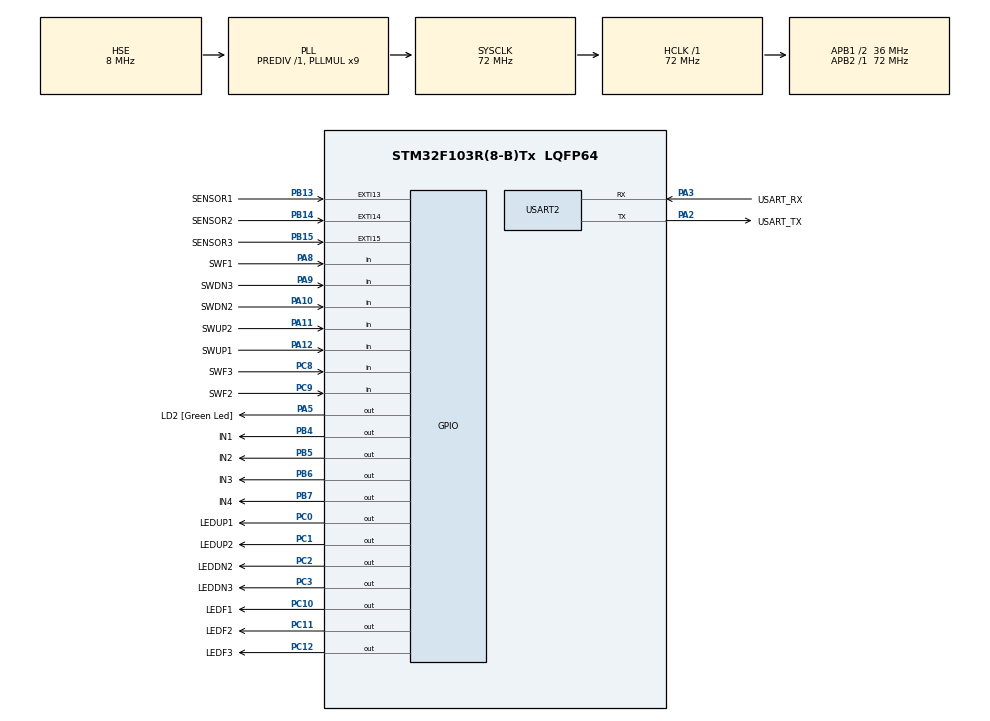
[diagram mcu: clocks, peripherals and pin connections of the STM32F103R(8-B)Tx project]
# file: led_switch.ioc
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Mcu.Family=STM32F1
Mcu.Name=STM32F103R(8-B)Tx
Mcu.Package=LQFP64
NVIC.PriorityGroup=NVIC_PRIORITYGROUP_4
PA10.GPIO_Label=SWDN2
PA10.GPIO_PuPd=GPIO_PULLDOWN
PA10.Signal=GPIO_Input
PA11.GPIO_Label=SWUP2
PA11.GPIO_PuPd=GPIO_PULLDOWN
PA11.Signal=GPIO_Input
PA12.GPIO_Label=SWUP1
PA12.GPIO_PuPd=GPIO_PULLDOWN
PA12.Signal=GPIO_Input
PA13.GPIO_Label=TMS
PA13.Mode=Serial_Wire
PA13.Signal=SYS_JTMS-SWDIO
PA14.GPIO_Label=TCK
PA14.Mode=Serial_Wire
PA14.Signal=SYS_JTCK-SWCLK
PA2.GPIO_Label=USART_TX
PA2.GPIO_Mode=GPIO_MODE_AF_PP
PA2.GPIO_PuPd=GPIO_NOPULL
PA2.GPIO_Speed=GPIO_SPEED_FREQ_LOW
PA2.Mode=Asynchronous
PA2.Signal=USART2_TX
PA3.GPIO_Label=USART_RX
PA3.GPIO_Mode=GPIO_MODE_AF_PP
PA3.GPIO_PuPd=GPIO_NOPULL
PA3.GPIO_Speed=GPIO_SPEED_FREQ_LOW
PA3.Mode=Asynchronous
PA3.Signal=USART2_RX
PA5.GPIO_Label=LD2 [Green Led]
PA5.GPIO_ModeDefaultOutputPP=GPIO_MODE_OUTPUT_PP
PA5.GPIO_PuPd=GPIO_NOPULL
PA5.GPIO_Speed=GPIO_SPEED_FREQ_LOW
PA5.Signal=GPIO_Output
PA8.GPIO_Label=SWF1
PA8.GPIO_PuPd=GPIO_PULLDOWN
PA8.Signal=GPIO_Input
PA9.GPIO_Label=SWDN3
PA9.GPIO_PuPd=GPIO_PULLDOWN
PA9.Signal=GPIO_Input
PB13.GPIO_Label=SENSOR1
PB13.Signal=GPXTI13
PB14.GPIO_Label=SENSOR2
PB14.Signal=GPXTI14
PB15.GPIO_Label=SENSOR3
PB15.Signal=GPXTI15
PB3.Signal=S_TIM2_CH2
PB4.GPIO_Label=IN1
PB4.Signal=GPIO_Output
PB5.GPIO_Label=IN2
PB5.Signal=GPIO_Output
PB6.GPIO_Label=IN3
PB6.Signal=GPIO_Output
PB7.GPIO_Label=IN4
PB7.Signal=GPIO_Output
PC0.GPIO_Label=LEDUP1
PC0.GPIO_PuPd=GPIO_PULLDOWN
PC0.Signal=GPIO_Output
PC1.GPIO_Label=LEDUP2
PC1.GPIO_PuPd=GPIO_PULLDOWN
PC1.Signal=GPIO_Output
PC10.GPIO_Label=LEDF1
PC10.GPIO_PuPd=GPIO_PULLDOWN
PC10.Signal=GPIO_Output
PC11.GPIO_Label=LEDF2
PC11.GPIO_PuPd=GPIO_PULLDOWN
PC11.Signal=GPIO_Output
PC12.GPIO_Label=LEDF3
PC12.Signal=GPIO_Output
PC14-OSC32_IN.Mode=LSE-External-Oscillator
PC14-OSC32_IN.Signal=RCC_OSC32_IN
PC15-OSC32_OUT.Mode=LSE-External-Oscillator
PC15-OSC32_OUT.Signal=RCC_OSC32_OUT
PC2.GPIO_Label=LEDDN2
PC2.GPIO_PuPd=GPIO_PULLDOWN
PC2.Signal=GPIO_Output
PC3.GPIO_Label=LEDDN3
PC3.Signal=GPIO_Output
PC8.GPIO_Label=SWF3
PC8.GPIO_PuPd=GPIO_PULLDOWN
PC8.Signal=GPIO_Input
PC9.GPIO_Label=SWF2
PC9.GPIO_PuPd=GPIO_PULLDOWN
PC9.Signal=GPIO_Input
PD0-OSC_IN.Mode=HSE-External-Clock-Source
PD0-OSC_IN.Signal=RCC_OSC_IN
PD1-OSC_OUT.Mode=HSE-External-Clock-Source
PD1-OSC_OUT.Signal=RCC_OSC_OUT
ProjectManager.HeapSize=0x200
ProjectManager.StackSize=0x400
ProjectManager.TargetToolchain=STM32CubeIDE
RCC.AHBFreq_Value=72000000
RCC.APB1CLKDivider=RCC_HCLK_DIV2
RCC.APB1Freq_Value=36000000
RCC.APB1TimFreq_Value=72000000
RCC.APB2Freq_Value=72000000
RCC.APB2TimFreq_Value=72000000
RCC.HCLKFreq_Value=72000000
RCC.PLLMUL=RCC_PLL_MUL9
RCC.PLLSourceVirtual=RCC_PLLSOURCE_HSE
RCC.RTCClockSelection=RCC_RTCCLKSOURCE_LSE
RCC.SYSCLKFreq_VALUE=72000000
RCC.SYSCLKSource=RCC_SYSCLKSOURCE_PLLCLK
RCC.USBFreq_Value=72000000
SH.S_TIM2_CH2.0=TIM2_CH2
TIM2.AutoReloadPreload=TIM_AUTORELOAD_PRELOAD_DISABLE
TIM2.Period=65535
TIM2.Prescaler=72-1
USART2.VirtualMode=VM_ASYNC
VP_TIM2_VS_ClockSourceINT.Mode=Internal
board=NUCLEO-F103RB

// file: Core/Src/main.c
/* USER CODE BEGIN Header */
/**
  ******************************************************************************
  * @file           : main.c
  * @brief          : Main program body
  ******************************************************************************
  * @attention
  *
  * Copyright (c) 2024 STMicroelectronics.
  * All rights reserved.
  *
  * This software is licensed under terms that can be found in the LICENSE file
  * in the root directory of this software component.
  * If no LICENSE file comes with this software, it is provided AS-IS.
  *
  ******************************************************************************
  */
/* USER CODE END Header */
#include "main.h"

/* USER CODE BEGIN PD */
//#define BUTMAX 4
#define MAXFLOOR 3
#define DECREASE 5//experiment needs
#define SPEEDINIT 30
#define STEP 140
/* USER CODE END PD */

TIM_HandleTypeDef htim2;

UART_HandleTypeDef huart2;

/* USER CODE BEGIN PV */
uint16_t led_pin_up[] = {LEDUP1_Pin,LEDUP2_Pin,0};
uint16_t led_pin_down[] = {0,LEDDN2_Pin,LEDDN3_Pin};
uint16_t led_pin_f[] = {LEDF1_Pin,LEDF2_Pin,LEDF3_Pin};
GPIO_TypeDef *led_port_up[] = {LEDUP1_GPIO_Port,LEDUP2_GPIO_Port,0};
GPIO_TypeDef *led_port_down[] = {0,LEDDN2_GPIO_Port,LEDDN3_GPIO_Port};
GPIO_TypeDef *led_port_f[] = {LEDF1_GPIO_Port,LEDF2_GPIO_Port,LEDF3_GPIO_Port};

int upButton[MAXFLOOR] = {0};//up down button state outside
int downButton[MAXFLOOR]={0};
int fButton[MAXFLOOR] = {0};//floor button state inside
int direction = 0;//0: stop 1: up 2: down
int currentFloor=1;
int targetFloor = 1;
int stepNumber=1;
float speed=SPEEDINIT;
int totalSteps=0;//floor detect 57:1 114:2 171:3
int motorEn=0;

//uint8_t sen1 = "SENSOR1\n";
//uint8_t sen2 = "SENSOR2\n";
//uint8_t sen3 = "SENSOR3\n";
/* USER CODE END PV */

void SystemClock_Config(void);
static void MX_GPIO_Init(void);
static void MX_USART2_UART_Init(void);
static void MX_TIM2_Init(void);

/* USER CODE BEGIN 0 */

void input_button(){
  if(HAL_GPIO_ReadPin(SWUP1_GPIO_Port,SWUP1_Pin)){//up1
	   	HAL_Delay(100);
	   	HAL_GPIO_WritePin(led_port_up[0],led_pin_up[0],!upButton[0]);
	   	upButton[0] = !upButton[0];
	  	while(HAL_GPIO_ReadPin(SWUP1_GPIO_Port,SWUP1_Pin)){;}
	  	HAL_Delay(100);
	  }

  if(HAL_GPIO_ReadPin(SWUP2_GPIO_Port,SWUP2_Pin)){//up2
    HAL_Delay(100);
    HAL_GPIO_WritePin(led_port_up[1],led_pin_up[1],!upButton[1]);
    upButton[1] = !upButton[1];
    while(HAL_GPIO_ReadPin(SWUP2_GPIO_Port,SWUP2_Pin)){;}
    HAL_Delay(100);
  }

  if(HAL_GPIO_ReadPin(SWDN2_GPIO_Port,SWDN2_Pin)){//down2
    HAL_Delay(100);
    HAL_GPIO_WritePin(led_port_down[1],led_pin_down[1],!downButton[1]);
    downButton[1] = !downButton[1];
    while(HAL_GPIO_ReadPin(SWDN2_GPIO_Port,SWDN2_Pin)){;}
    HAL_Delay(100);
  }

  if(HAL_GPIO_ReadPin(SWDN3_GPIO_Port,SWDN3_Pin)){//down3
    HAL_Delay(100);
    HAL_GPIO_WritePin(led_port_down[2],led_pin_down[2],!downButton[2]);
    downButton[2] = !downButton[2];
    while(HAL_GPIO_ReadPin(SWDN3_GPIO_Port,SWDN3_Pin)){;}
    HAL_Delay(100);
  }

  if(HAL_GPIO_ReadPin(SWF1_GPIO_Port,SWF1_Pin)){//f1
    HAL_Delay(100);
    HAL_GPIO_WritePin(led_port_f[0],led_pin_f[0],!fButton[0]);
    fButton[0] = !fButton[0];
    while(HAL_GPIO_ReadPin(SWF1_GPIO_Port,SWF1_Pin)){;}
    HAL_Delay(100);
  }

  if(HAL_GPIO_ReadPin(SWF2_GPIO_Port,SWF2_Pin)){//f2
    HAL_Delay(100);
    HAL_GPIO_WritePin(led_port_f[1],led_pin_f[1],!fButton[1]);
    fButton[1] = !fButton[1];
    while(HAL_GPIO_ReadPin(SWF2_GPIO_Port,SWF2_Pin)){;}
    HAL_Delay(100);
  }

  if(HAL_GPIO_ReadPin(SWF3_GPIO_Port,SWF3_Pin)){//f3
    HAL_Delay(100);
    HAL_GPIO_WritePin(led_port_f[2],led_pin_f[2],!fButton[2]);
    fButton[2] = !fButton[2];
    while(HAL_GPIO_ReadPin(SWF3_GPIO_Port,SWF3_Pin)){;}
    HAL_Delay(100);
  }
}
int button_check(){
  int i=currentFloor-1; //current index
  if(direction==0){
    while(i<MAXFLOOR){
        if(upButton[i]||downButton[i]||fButton[i]){
            return i+1;
        }
        i++;
    }
    i = currentFloor-1;
    while(i>=0){
        if(upButton[i]||downButton[i]||fButton[i]){
            return i+1;
        }
        i--;
    }
  }
  else if(direction==1){
    while(i<MAXFLOOR){
        if(upButton[i]||downButton[i]||fButton[i]){
            return i+1;
        }
        i++;
    }
  }
  else{//direction==2
    while(i>=0){
        if(upButton[i]||downButton[i]||fButton[i]){
            return  i+1;
        }
        i--;
    }
  }
  direction=0;
  HAL_UART_Transmit(&huart2,"00000000\n",sizeof("00000000\n"),100);
  return currentFloor;
}

void led_check(){//when arrive in target floor, related led off so weird
  if(direction==1){
	  HAL_Delay(1000);
    if(upButton[currentFloor-1]){
      upButton[currentFloor-1] = 0;
      HAL_GPIO_WritePin(led_port_up[currentFloor-1],led_pin_up[currentFloor-1],0);
    }
    direction=2;
  }else if(direction==2){
	  HAL_Delay(1000);
    if(downButton[currentFloor-1]){
      downButton[currentFloor-1] = 0;
      HAL_GPIO_WritePin(led_port_down[currentFloor-1],led_pin_down[currentFloor-1],0);
    }
    direction=1;
  }else{//direction == 0
    if(upButton[currentFloor-1]){
	  HAL_Delay(1000);
	  upButton[currentFloor-1] = 0;
	  HAL_GPIO_WritePin(led_port_up[currentFloor-1],led_pin_up[currentFloor-1],0);

    }
    if(downButton[currentFloor-1]){
		HAL_Delay(1000);
		downButton[currentFloor-1] = 0;
		HAL_GPIO_WritePin(led_port_down[currentFloor-1],led_pin_down[currentFloor-1],0);
    }
  }
  if(fButton[currentFloor-1]){
	  HAL_Delay(1000);
      fButton[currentFloor-1] = 0;
      HAL_GPIO_WritePin(led_port_f[currentFloor-1],led_pin_f[currentFloor-1],0);

  }
}

void motor_on(){
    // Find out which step the motor is on
	motorEn=1;
    switch (stepNumber)
    {
    case 1:
		  HAL_GPIO_WritePin(IN1_GPIO_Port, IN1_Pin, 1);   // IN1
		  HAL_GPIO_WritePin(IN2_GPIO_Port, IN2_Pin,0); // IN2
		  HAL_GPIO_WritePin(IN3_GPIO_Port, IN3_Pin,0); // IN3
		  HAL_GPIO_WritePin(IN4_GPIO_Port, IN4_Pin, 1);   // IN4
		  HAL_Delay(5);
		break;
	  case 2:
		  HAL_GPIO_WritePin(IN1_GPIO_Port, IN1_Pin, 1);   // IN1
		  HAL_GPIO_WritePin(IN2_GPIO_Port, IN2_Pin,0); // IN2
		  HAL_GPIO_WritePin(IN3_GPIO_Port, IN3_Pin, 1);   // IN3
		  HAL_GPIO_WritePin(IN4_GPIO_Port, IN4_Pin,0); // IN4
		  HAL_Delay(5);
		break;
	  case 3:
		  HAL_GPIO_WritePin(IN1_GPIO_Port, IN1_Pin,0); // IN1
		  HAL_GPIO_WritePin(IN2_GPIO_Port, IN2_Pin, 1);   // IN2
		  HAL_GPIO_WritePin(IN3_GPIO_Port, IN3_Pin, 1);   // IN3
		  HAL_GPIO_WritePin(IN4_GPIO_Port, IN4_Pin,0); // IN4
		  HAL_Delay(5);
		break;
	  case 4:
		  HAL_GPIO_WritePin(IN1_GPIO_Port, IN1_Pin,0); // IN1
		  HAL_GPIO_WritePin(IN2_GPIO_Port, IN2_Pin, 1);   // IN2
		  HAL_GPIO_WritePin(IN3_GPIO_Port, IN3_Pin,0); // IN3
		  HAL_GPIO_WritePin(IN4_GPIO_Port, IN4_Pin, 1);   // IN4
		  HAL_Delay(5);
		break;
      default:
        break;
    }
}
void motor_off()
{
	motorEn=0;
	HAL_GPIO_WritePin(IN1_GPIO_Port, IN1_Pin, 0); // IN1
	HAL_GPIO_WritePin(IN2_GPIO_Port, IN2_Pin, 0); // IN2
	HAL_GPIO_WritePin(IN3_GPIO_Port, IN3_Pin, 0); // IN3
	HAL_GPIO_WritePin(IN4_GPIO_Port, IN4_Pin, 0); // IN4
}
void motor_delay(uint32_t delay){
//    if (delay < 60000)
//    {
//        __HAL_TIM_SET_COUNTER(&htim2, 0);
//        while (__HAL_TIM_GET_COUNTER(&htim2) < delay);
//    }
//    else
//    {
//        HAL_Delay(delay/1000);//limit lowest speed
//    }

	__HAL_TIM_SET_COUNTER(&htim2, 0);
	while (__HAL_TIM_GET_COUNTER(&htim2) < delay);

}

void up_floor(){//wheel r = 2.5cm floor step=4.5cm so 57cycle need to go up 1 floor
	motor_on();
	uint32_t delay = 60*1000*1000/200/speed;
	for(int x=0; x<STEP; x++){
		input_button();
		totalSteps++;
	// Step to the previous step
		switch (stepNumber){//counter clock wise
		case 1:
			HAL_GPIO_WritePin(IN1_GPIO_Port, IN1_Pin, 0); // IN1
			HAL_GPIO_WritePin(IN2_GPIO_Port, IN2_Pin, 1);   // IN2
			HAL_GPIO_WritePin(IN3_GPIO_Port, IN3_Pin, 0); // IN3
			HAL_GPIO_WritePin(IN4_GPIO_Port, IN4_Pin, 1);   // IN4
			motor_delay(delay);
			stepNumber = 4;
			break;
		  case 2:
			HAL_GPIO_WritePin(IN1_GPIO_Port, IN1_Pin, 1);   // IN1
			HAL_GPIO_WritePin(IN2_GPIO_Port, IN2_Pin, 0); // IN2
			HAL_GPIO_WritePin(IN3_GPIO_Port, IN3_Pin, 0); // IN3
			HAL_GPIO_WritePin(IN4_GPIO_Port, IN4_Pin, 1);   // IN4
			motor_delay(delay);
			stepNumber = 1;
			break;
		  case 3:
			HAL_GPIO_WritePin(IN1_GPIO_Port, IN1_Pin, 1);   // IN1
			HAL_GPIO_WritePin(IN2_GPIO_Port, IN2_Pin, 0); // IN2
			HAL_GPIO_WritePin(IN3_GPIO_Port, IN3_Pin, 1);   // IN3
			HAL_GPIO_WritePin(IN4_GPIO_Port, IN4_Pin, 0); // IN4
			motor_delay(delay);
			stepNumber = 2;
			break;
		  case 4:
			HAL_GPIO_WritePin(IN1_GPIO_Port, IN1_Pin, 0); // IN1
			HAL_GPIO_WritePin(IN2_GPIO_Port, IN2_Pin, 1);   // IN2
			HAL_GPIO_WritePin(IN3_GPIO_Port, IN3_Pin, 1);   // IN3
			HAL_GPIO_WritePin(IN4_GPIO_Port, IN4_Pin, 0); // IN4
			motor_delay(delay);
			stepNumber = 3;
			break;
		  default:
			break;
		}
		delay = 60*1000*1000/200/speed;
		if(x>=STEP-5){
			speed  = speed - DECREASE;
		}

	}
	speed = SPEEDINIT;
	motor_off();
}
void down_floor(){//wheel r = 2.5cm floor step=4.5cm so 57cycle need to go up 1 floor
	motor_on();
	uint32_t delay = 60*1000*1000/200/speed;
	for(int x=0; x<STEP; x++)
	  {
		input_button();
		totalSteps--;
	    // Step to the next step
	    switch (stepNumber){
	    case 1:
			HAL_GPIO_WritePin(IN1_GPIO_Port, IN1_Pin,1);   // IN1
			HAL_GPIO_WritePin(IN2_GPIO_Port, IN2_Pin, 0); // IN2
			HAL_GPIO_WritePin(IN3_GPIO_Port, IN3_Pin,1);   // IN3
			HAL_GPIO_WritePin(IN4_GPIO_Port, IN4_Pin, 0); // IN4
			motor_delay(delay);
			stepNumber = 2;
			break;
		  case 2:
			HAL_GPIO_WritePin(IN1_GPIO_Port, IN1_Pin, 0); // IN1
			HAL_GPIO_WritePin(IN2_GPIO_Port, IN2_Pin,1);   // IN2
			HAL_GPIO_WritePin(IN3_GPIO_Port, IN3_Pin,1);   // IN3
			HAL_GPIO_WritePin(IN4_GPIO_Port, IN4_Pin, 0); // IN4
			motor_delay(delay);
			stepNumber = 3;
			break;
		  case 3:
			HAL_GPIO_WritePin(IN1_GPIO_Port, IN1_Pin, 0); // IN1
			HAL_GPIO_WritePin(IN2_GPIO_Port, IN2_Pin,1);   // IN2
			HAL_GPIO_WritePin(IN3_GPIO_Port, IN3_Pin, 0); // IN3
			HAL_GPIO_WritePin(IN4_GPIO_Port, IN4_Pin, 1); // IN4 checking required
			motor_delay(delay);
			stepNumber = 4;
			break;
		  case 4:
			HAL_GPIO_WritePin(IN1_GPIO_Port, IN1_Pin,1);   // IN1
			HAL_GPIO_WritePin(IN2_GPIO_Port, IN2_Pin, 0); // IN2
			HAL_GPIO_WritePin(IN3_GPIO_Port, IN3_Pin, 0); // IN3
			HAL_GPIO_WritePin(IN4_GPIO_Port, IN4_Pin,1);   // IN4
			motor_delay(delay);
			stepNumber = 1;
			break;
		  default:
			break;
	    }
	    delay = 60*1000*1000/200/speed;
	    if(x>=STEP-5){
			speed  = speed - DECREASE;
		}
	  }
	speed=SPEEDINIT;
	motor_off();
}
void go_floor(int targetFloor){//move to targetfloor
  if(targetFloor > currentFloor){
    up_floor();
    direction = 1;
  }else if(targetFloor < currentFloor){
    down_floor();
    direction = 2;
  }

}
void update_currentFloor(){
  switch (totalSteps)
  {
  case STEP: currentFloor = 1;
  HAL_UART_Transmit(&huart2,"1111111\n",sizeof("11111111\n"),100);
    break;
  case STEP*2: currentFloor = 2;
  HAL_UART_Transmit(&huart2,"222222\n",sizeof("122222221\n"),100);
    break;
   case STEP*3: currentFloor = 3;
   HAL_UART_Transmit(&huart2,"33333333\n",sizeof("333333333\n"),100);
    break;
  default: break;

  }

}
/* USER CODE END 0 */

int main(void)
{

  /* USER CODE BEGIN 1 */
	//uint16_t value = 0;
  /* USER CODE END 1 */

  /* MCU Configuration--------------------------------------------------------*/

  /* Reset of all peripherals, Initializes the Flash interface and the Systick. */
  HAL_Init();

  /* Configure the system clock */
  SystemClock_Config();

  /* Initialize all configured peripherals */
  MX_GPIO_Init();
  MX_USART2_UART_Init();
  MX_TIM2_Init();
  /* USER CODE BEGIN 2 */
  HAL_TIM_Base_Start(&htim2);

  /* USER CODE END 2 */

  /* Infinite loop */
  /* USER CODE BEGIN WHILE */
  while (1){//HAL_UART_Transmit(&huart2,"SENSOR\n",sizeof("SENSOR\n"),100);//HAL_UART_Transmit(&huart2,"dn3\n",sizeof("dn3\n"),100);

	input_button();
    led_check();
    targetFloor = button_check();
    if(!motorEn)go_floor(targetFloor);
    update_currentFloor();
	 // up_floor();
    /* USER CODE END WHILE */

  }
}

void SystemClock_Config(void)
{
  RCC_OscInitTypeDef RCC_OscInitStruct = {0};
  RCC_ClkInitTypeDef RCC_ClkInitStruct = {0};

  /** Initializes the RCC Oscillators according to the specified parameters
  * in the RCC_OscInitTypeDef structure.
  */
  RCC_OscInitStruct.OscillatorType = RCC_OSCILLATORTYPE_HSE;
  RCC_OscInitStruct.HSEState = RCC_HSE_BYPASS;
  RCC_OscInitStruct.HSEPredivValue = RCC_HSE_PREDIV_DIV1;
  RCC_OscInitStruct.HSIState = RCC_HSI_ON;
  RCC_OscInitStruct.PLL.PLLState = RCC_PLL_ON;
  RCC_OscInitStruct.PLL.PLLSource = RCC_PLLSOURCE_HSE;
  RCC_OscInitStruct.PLL.PLLMUL = RCC_PLL_MUL9;
  if (HAL_RCC_OscConfig(&RCC_OscInitStruct) != HAL_OK)
  {
    Error_Handler();
  }

  /** Initializes the CPU, AHB and APB buses clocks
  */
  RCC_ClkInitStruct.ClockType = RCC_CLOCKTYPE_HCLK|RCC_CLOCKTYPE_SYSCLK
                              |RCC_CLOCKTYPE_PCLK1|RCC_CLOCKTYPE_PCLK2;
  RCC_ClkInitStruct.SYSCLKSource = RCC_SYSCLKSOURCE_PLLCLK;
  RCC_ClkInitStruct.AHBCLKDivider = RCC_SYSCLK_DIV1;
  RCC_ClkInitStruct.APB1CLKDivider = RCC_HCLK_DIV2;
  RCC_ClkInitStruct.APB2CLKDivider = RCC_HCLK_DIV1;

  if (HAL_RCC_ClockConfig(&RCC_ClkInitStruct, FLASH_LATENCY_2) != HAL_OK)
  {
    Error_Handler();
  }
}

static void MX_TIM2_Init(void)
{

  TIM_ClockConfigTypeDef sClockSourceConfig = {0};
  TIM_MasterConfigTypeDef sMasterConfig = {0};

  htim2.Instance = TIM2;
  htim2.Init.Prescaler = 72-1;
  htim2.Init.CounterMode = TIM_COUNTERMODE_UP;
  htim2.Init.Period = 65535;
  htim2.Init.ClockDivision = TIM_CLOCKDIVISION_DIV1;
  htim2.Init.AutoReloadPreload = TIM_AUTORELOAD_PRELOAD_DISABLE;
  if (HAL_TIM_Base_Init(&htim2) != HAL_OK)
  {
    Error_Handler();
  }
  sClockSourceConfig.ClockSource = TIM_CLOCKSOURCE_INTERNAL;
  if (HAL_TIM_ConfigClockSource(&htim2, &sClockSourceConfig) != HAL_OK)
  {
    Error_Handler();
  }
  sMasterConfig.MasterOutputTrigger = TIM_TRGO_RESET;
  sMasterConfig.MasterSlaveMode = TIM_MASTERSLAVEMODE_DISABLE;
  if (HAL_TIMEx_MasterConfigSynchronization(&htim2, &sMasterConfig) != HAL_OK)
  {
    Error_Handler();
  }

}

static void MX_USART2_UART_Init(void)
{

  huart2.Instance = USART2;
  huart2.Init.BaudRate = 115200;
  huart2.Init.WordLength = UART_WORDLENGTH_8B;
  huart2.Init.StopBits = UART_STOPBITS_1;
  huart2.Init.Parity = UART_PARITY_NONE;
  huart2.Init.Mode = UART_MODE_TX_RX;
  huart2.Init.HwFlowCtl = UART_HWCONTROL_NONE;
  huart2.Init.OverSampling = UART_OVERSAMPLING_16;
  if (HAL_UART_Init(&huart2) != HAL_OK)
  {
    Error_Handler();
  }

}

static void MX_GPIO_Init(void)
{
  GPIO_InitTypeDef GPIO_InitStruct = {0};

  /* GPIO Ports Clock Enable */
  __HAL_RCC_GPIOC_CLK_ENABLE();
  __HAL_RCC_GPIOD_CLK_ENABLE();
  __HAL_RCC_GPIOA_CLK_ENABLE();
  __HAL_RCC_GPIOB_CLK_ENABLE();

  /*Configure GPIO pin Output Level */
  HAL_GPIO_WritePin(GPIOC, LEDUP1_Pin|LEDUP2_Pin|LEDDN2_Pin|LEDDN3_Pin
                          |LEDF1_Pin|LEDF2_Pin|LEDF3_Pin, GPIO_PIN_RESET);

  /*Configure GPIO pin Output Level */
  HAL_GPIO_WritePin(LD2_GPIO_Port, LD2_Pin, GPIO_PIN_RESET);

  /*Configure GPIO pin Output Level */
  HAL_GPIO_WritePin(GPIOB, IN1_Pin|IN2_Pin|IN3_Pin|IN4_Pin, GPIO_PIN_RESET);

  /*Configure GPIO pins : LEDUP1_Pin LEDUP2_Pin LEDDN2_Pin LEDF1_Pin
                           LEDF2_Pin */
  GPIO_InitStruct.Pin = LEDUP1_Pin|LEDUP2_Pin|LEDDN2_Pin|LEDF1_Pin
                          |LEDF2_Pin;
  GPIO_InitStruct.Mode = GPIO_MODE_OUTPUT_PP;
  GPIO_InitStruct.Pull = GPIO_PULLDOWN;
  GPIO_InitStruct.Speed = GPIO_SPEED_FREQ_LOW;
  HAL_GPIO_Init(GPIOC, &GPIO_InitStruct);

  /*Configure GPIO pins : LEDDN3_Pin LEDF3_Pin */
  GPIO_InitStruct.Pin = LEDDN3_Pin|LEDF3_Pin;
  GPIO_InitStruct.Mode = GPIO_MODE_OUTPUT_PP;
  GPIO_InitStruct.Pull = GPIO_NOPULL;
  GPIO_InitStruct.Speed = GPIO_SPEED_FREQ_LOW;
  HAL_GPIO_Init(GPIOC, &GPIO_InitStruct);

  /*Configure GPIO pin : LD2_Pin */
  GPIO_InitStruct.Pin = LD2_Pin;
  GPIO_InitStruct.Mode = GPIO_MODE_OUTPUT_PP;
  GPIO_InitStruct.Pull = GPIO_NOPULL;
  GPIO_InitStruct.Speed = GPIO_SPEED_FREQ_LOW;
  HAL_GPIO_Init(LD2_GPIO_Port, &GPIO_InitStruct);

  /*Configure GPIO pins : SENSOR1_Pin SENSOR2_Pin SENSOR3_Pin */
  GPIO_InitStruct.Pin = SENSOR1_Pin|SENSOR2_Pin|SENSOR3_Pin;
  GPIO_InitStruct.Mode = GPIO_MODE_IT_RISING;
  GPIO_InitStruct.Pull = GPIO_NOPULL;
  HAL_GPIO_Init(GPIOB, &GPIO_InitStruct);

  /*Configure GPIO pins : SWF3_Pin SWF2_Pin */
  GPIO_InitStruct.Pin = SWF3_Pin|SWF2_Pin;
  GPIO_InitStruct.Mode = GPIO_MODE_INPUT;
  GPIO_InitStruct.Pull = GPIO_PULLDOWN;
  HAL_GPIO_Init(GPIOC, &GPIO_InitStruct);

  /*Configure GPIO pins : SWF1_Pin SWDN3_Pin SWDN2_Pin SWUP2_Pin
                           SWUP1_Pin */
  GPIO_InitStruct.Pin = SWF1_Pin|SWDN3_Pin|SWDN2_Pin|SWUP2_Pin
                          |SWUP1_Pin;
  GPIO_InitStruct.Mode = GPIO_MODE_INPUT;
  GPIO_InitStruct.Pull = GPIO_PULLDOWN;
  HAL_GPIO_Init(GPIOA, &GPIO_InitStruct);

  /*Configure GPIO pins : IN1_Pin IN2_Pin IN3_Pin IN4_Pin */
  GPIO_InitStruct.Pin = IN1_Pin|IN2_Pin|IN3_Pin|IN4_Pin;
  GPIO_InitStruct.Mode = GPIO_MODE_OUTPUT_PP;
  GPIO_InitStruct.Pull = GPIO_NOPULL;
  GPIO_InitStruct.Speed = GPIO_SPEED_FREQ_LOW;
  HAL_GPIO_Init(GPIOB, &GPIO_InitStruct);

}

/* USER CODE BEGIN 4 */

void HAL_GPIO_EXTI_Callback(uint16_t GPIO_Pin)
{
	//if(GPIO_Pin == SW0_Pin){
		//HAL_Delay(100);
//		if(GPIO_Pin == SW0_Pin){
//			  if(led_state[0] == 1){
//				  led_state[0] = 0;
//				  HAL_UART_Transmit(&huart2,"A\n",sizeof("A\n"),100);
//			  }
//			  else{
//				  led_state[0] = 1;
//				  HAL_UART_Transmit(&huart2,"B\n",sizeof("A\n"),100);
//			  }
//		}

	  //HAL_GPIO_TogglePin(LED0_GPIO_Port, LED0_Pin);
	  //HAL_Delay(10);
  //}

	// if(GPIO_Pin == SENSOR1_Pin ){
	// 	// HAL_UART_Transmit(&huart2,"SENSOR1111\n",sizeof("SENSOR1111\n"),100);
	// 	 currentFloor=1;
	// }
	// if(GPIO_Pin == SENSOR2_Pin ){
	// 	//HAL_UART_Transmit(&huart2,"SENSOR2222\n",sizeof("SENSOR2222\n"),100);
	// 	currentFloor=2;
	// }
	// if(GPIO_Pin == SENSOR3_Pin ){
	// 	//HAL_UART_Transmit(&huart2,"SENSOR3333\n",sizeof("SENSOR3333\n"),100);
	// 	currentFloor=3;
	// }
}

/* USER CODE END 4 */

void Error_Handler(void)
{
  __disable_irq();
  while (1)
  {
  }
}
